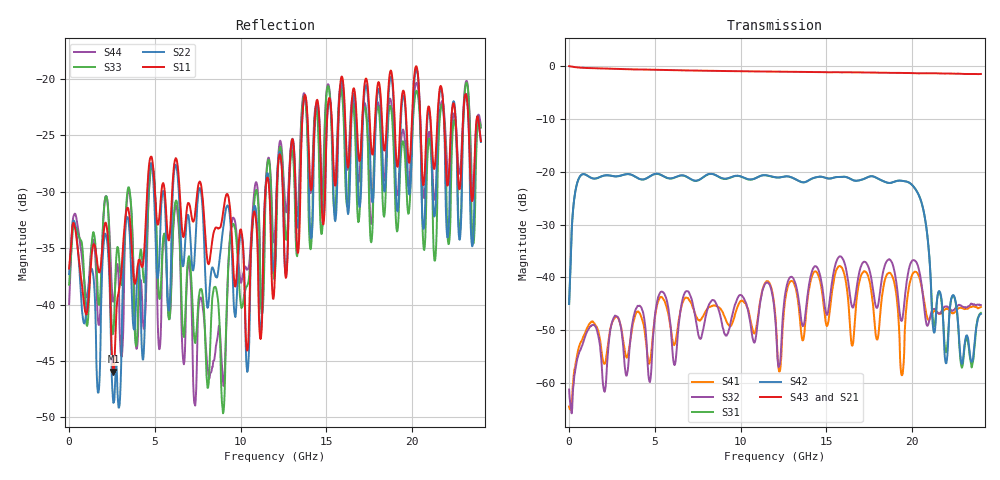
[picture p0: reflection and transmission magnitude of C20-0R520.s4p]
! MARKI MICROWAVE INC.
! Email:  info@markimicrowave.com  Phone:  408-778-4200
! Model Number:  C20-0R520  Date:  10/12
! Filename:		C20_0R520.S4P  Version: 1.0
! Description:  4-port S-parameter data for Directional Coupler C20-0R520
! Frequency Range: 	10 MHz to 24 GHz
! Port Configuration:	PORT 1: Input
!  PORT 2: Output
!  Port 3: Coupled
!  Port 4: Isolated
! S4P File: Measurements: Mag<S11> Ang<S11> Mag<S12> Ang<S12> Mag<S13> Ang<S13> Mag<S14> Ang<S14>! row 1
!  Mag<S21> Ang<S21> Mag<S22> Ang<S22> Mag<S23> Ang<S23> Mag<S24> Ang<S24>! row 2
!  Mag<S31> Ang<S31> Mag<S32> Ang<S32> Mag<S33> Ang<S33> Mag<S34> Ang<S34>! row 3
!  Mag<S41> Ang<S41> Mag<S42> Ang<S42> Mag<S43> Ang<S43> Mag<S44> Ang<S44>! row 4
# Hz S  dB  R 50
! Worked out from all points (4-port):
!   801 points, 10 MHz to 24 GHz, reference 50 ohm
!   strongest paths, dB at 10 MHz, 6.008 GHz, 12.01 GHz, 18 GHz, 24 GHz:
!     S43: -0.1, -0.8, -1.1, -1.3, -1.5
!     S21: -0.1, -0.9, -1.1, -1.3, -1.5
!     S42: -45.0, -21.2, -21.0, -21.3, -46.9
!     S31: -45.0, -21.3, -21.1, -21.3, -46.7
!     S32: -61.2, -52.8, -47.2, -45.3, -45.2
!     S41: -64.4, -51.4, -46.5, -51.4, -45.6
!   lowest |S11| = -46.0 dB at 2.589 GHz (marker M1), VSWR 1.01, Z = 49.6 - j0.281 ohm
!   |S11| at or under -10 dB: start of sweep to end of sweep
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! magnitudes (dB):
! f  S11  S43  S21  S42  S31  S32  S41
! 10 MHz  -36.8  -0.1  -0.1  -45.0  -45.0  -61.2  -64.4
! 549.8 MHz  -35.5  -0.3  -0.3  -21.5  -21.5  -54.6  -53.6
! 2.589 GHz  -46.0  -0.6  -0.6  -20.8  -20.9  -47.7  -48.0
! 4.778 GHz  -26.9  -0.7  -0.8  -20.8  -20.8  -58.4  -54.9
! 19.71 GHz  -25.5  -1.4  -1.4  -21.9  -21.9  -40.0  -44.0
! 21.96 GHz  -27.8  -1.5  -1.4  -56.2  -54.1  -45.5  -45.9
! 24 GHz  -25.5  -1.5  -1.5  -46.9  -46.7  -45.2  -45.6
